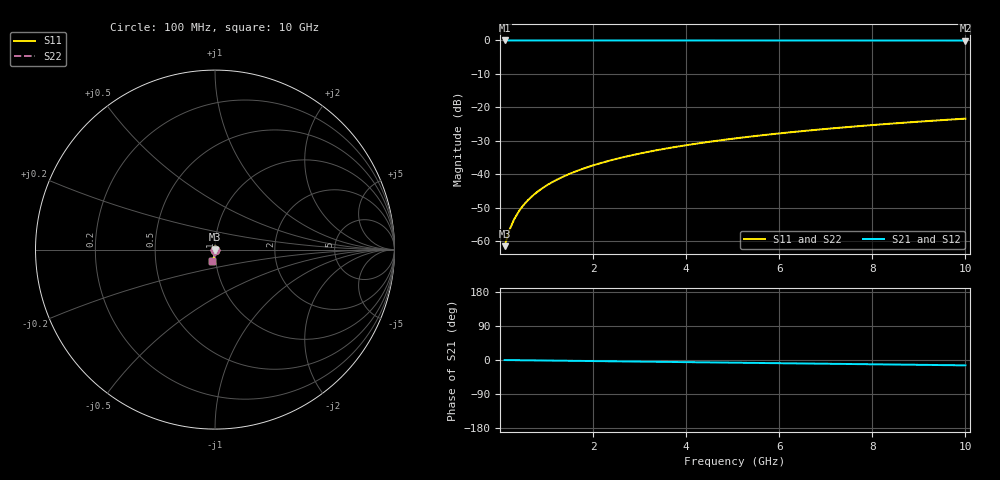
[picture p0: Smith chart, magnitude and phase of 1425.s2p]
# Hz S RI R 50.00
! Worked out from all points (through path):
!   100 points, 100 MHz to 10 GHz, reference 50 ohm
!   highest |S21| = 0.00 dB at 100 MHz (marker M1); lowest = 0.0 dB at 10 GHz (marker M2)
!   group delay of S21, straight-line fit = 3.92 ps
!   lowest |S11| = -61.5 dB at 100 MHz (marker M3), VSWR 1.00, Z = 50.1 - j0.0681 ohm
!   |S11| at or under -10 dB: start of sweep to end of sweep
!   |S22| runs from -61.5 to -23.4 dB; largest |S21 - S12| = 0
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1e8  0.000503 -0.00068  0.9995 -0.00245  0.9995 -0.00245  0.000503 -0.00068
2e8  0.0005 -0.00136  0.9995 -0.00489  0.9995 -0.00489  0.0005 -0.00136
3e8  0.000493 -0.00204  0.9995 -0.00734  0.9995 -0.00734  0.000493 -0.00204
4e8  0.000482 -0.00272  0.9994 -0.00978  0.9994 -0.00978  0.000482 -0.00272
5e8  0.000467 -0.0034  0.9994 -0.0122  0.9994 -0.0122  0.000467 -0.0034
6e8  0.000449 -0.00408  0.9994 -0.0147  0.9994 -0.0147  0.000449 -0.00408
7e8  0.000427 -0.00476  0.9993 -0.0171  0.9993 -0.0171  0.000427 -0.00476
8e8  0.000402 -0.00544  0.9993 -0.0196  0.9993 -0.0196  0.000402 -0.00544
9e8  0.000373 -0.00613  0.9992 -0.022  0.9992 -0.022  0.000373 -0.00613
1.1e9  0.000306 -0.00749  0.9991 -0.0269  0.9991 -0.0269  0.000306 -0.00749
1.4e9  0.00018 -0.00953  0.9988 -0.0342  0.9988 -0.0342  0.00018 -0.00953
1.8e9  -3.62e-05 -0.0122  0.9984 -0.044  0.9984 -0.044  -3.62e-05 -0.0122
2.1e9  -0.000233 -0.0143  0.998 -0.0514  0.998 -0.0514  -0.000233 -0.0143
2.5e9  -0.000543 -0.017  0.9974 -0.0612  0.9974 -0.0612  -0.000543 -0.017
2.9e9  -0.000907 -0.0197  0.9967 -0.0709  0.9967 -0.0709  -0.000907 -0.0197
3.4e9  -0.00144 -0.0231  0.9957 -0.0832  0.9957 -0.0832  -0.00144 -0.0231
4.2e9  -0.00246 -0.0285  0.9937 -0.1027  0.9937 -0.1027  -0.00246 -0.0285
5.1e9  -0.00386 -0.0345  0.9909 -0.1247  0.9909 -0.1247  -0.00386 -0.0345
5.9e9  -0.00534 -0.0398  0.9881 -0.1442  0.9881 -0.1442  -0.00534 -0.0398
6.7e9  -0.00702 -0.0451  0.9848 -0.1636  0.9848 -0.1636  -0.00702 -0.0451
8.4e9  -0.0113 -0.056  0.9764 -0.2048  0.9764 -0.2048  -0.0113 -0.056
1e10  -0.0161 -0.066  0.9668 -0.2432  0.9668 -0.2432  -0.0161 -0.066
